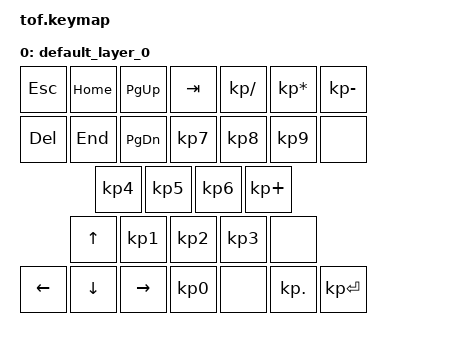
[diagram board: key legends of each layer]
/*
 * Copyright (c) 2020 The ZMK Contributors
 *
 * SPDX-License-Identifier: MIT
 */

#include <behaviors.dtsi>
#include <dt-bindings/zmk/keys.h>

&mt {
    tapping-term-ms = <200>;
};

&lt {
    quick-tap-ms = <400>;
};

/ {
    combos {
        compatible = "zmk,combos";

        backspace {
            bindings = <&kp BACKSPACE>;
            key-positions = <5 6>;
        };

        insert {
            bindings = <&kp INSERT>;
            key-positions = <0 1>;
        };

        numlock {
            bindings = <&kp KP_NUMLOCK>;
            key-positions = <3 4>;
        };
    };

    keymap {
        compatible = "zmk,keymap";

        default_layer_0 {
            bindings = <
 &kp ESC  &kp HOME  &kp PG_UP            &kp TAB     &kp KP_SLASH  &kp KP_MULTIPLY  &kp KP_MINUS
 &kp DEL   &kp END  &kp PG_DN    &kp KP_NUMBER_7  &kp KP_NUMBER_8  &kp KP_NUMBER_9         &none
                                 &kp KP_NUMBER_4  &kp KP_NUMBER_5  &kp KP_NUMBER_6   &kp KP_PLUS
            &kp UP               &kp KP_NUMBER_1  &kp KP_NUMBER_2  &kp KP_NUMBER_3         &none
&kp LEFT  &kp DOWN  &kp RIGHT    &kp KP_NUMBER_0            &none       &kp KP_DOT  &kp KP_ENTER
            >;
        };
    };
};
